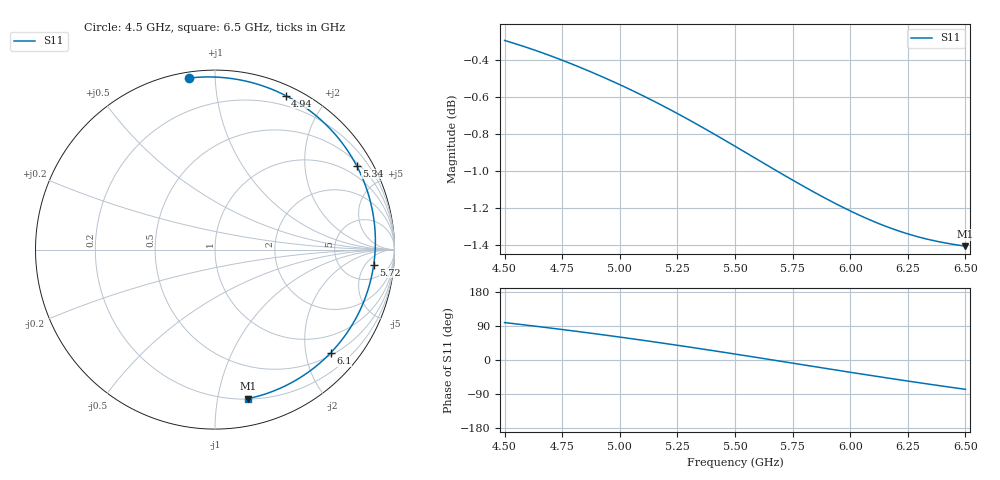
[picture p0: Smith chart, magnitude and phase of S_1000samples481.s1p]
! TOUCHSTONE file generated by CST MICROWAVE STUDIO
! Date and time: Fri Oct 28 07:35:41 2022
! Project name: L.cst
! Parameters = {Di=1.27; Epsilon_r=1.56; InnerDiameter=1.27; Length=2; Lf=10; Lg=60; OuterConductorThickness=0.2921; OuterDiameter=3.6; Wf=3; Wp=41.2; de=1.5; df=6.8; g=0.8; gx=4.73007; gy=4.80329; h=2.34; hf=1.524; px=10.943; py=10.4424; w=9.7; wx=6.21295; wy=5.63915}
! Header version: 2018
! Port assignment regex: !\s*Touchstone port\s*([0-9]+)\s*=\s*(CST MWS port|CST DS port)\s*([0-9]+|Zmin|Zmax)\s*\(\"(.*)\"\)(\s*mode\s*([0-9]+))?.*
! Touchstone port assignment:
! Touchstone port 1 = CST MWS port 1 ("")
# GHz S DB R 50
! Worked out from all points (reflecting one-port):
!   101 points, 4.5 GHz to 6.5 GHz, reference 50 ohm
!   lowest |S11| = -1.4 dB at 6.5 GHz (marker M1), VSWR 12.37, Z = 10.2 - j61.4 ohm
!   phase of S11 starts at 99 deg and turns -176 deg over the sweep
!   S11 on the Smith chart (normalised r, x): 4.5 GHz: 0.03, +0.86; 4.94 GHz: 0.10, +1.55; 5.34 GHz: 0.60, +3.55; 5.72 GHz: 10, -8; 6.1 GHz: 0.56, -2.52; 6.5 GHz: 0.20, -1.23
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4.5  -0.29 98.7
4.58  -0.33 93.0
4.64  -0.35 88.7
4.76  -0.41 79.7
4.86  -0.46 71.8
4.94  -0.50 65.4
5  -0.53 60.5
5.12  -0.61 50.3
5.18  -0.64 45.0
5.26  -0.70 37.9
5.34  -0.75 30.6
5.42  -0.81 23.2
5.5  -0.87 15.7
5.56  -0.91 10.0
5.62  -0.95 4.3
5.72  -1.03 -5.4
5.76  -1.06 -9.3
5.82  -1.10 -15.1
5.88  -1.14 -20.8
5.94  -1.18 -26.6
6  -1.22 -32.3
6.1  -1.27 -41.8
6.18  -1.31 -49.2
6.26  -1.34 -56.4
6.32  -1.36 -61.8
6.38  -1.38 -67.1
6.44  -1.40 -72.3
6.5  -1.41 -77.3
